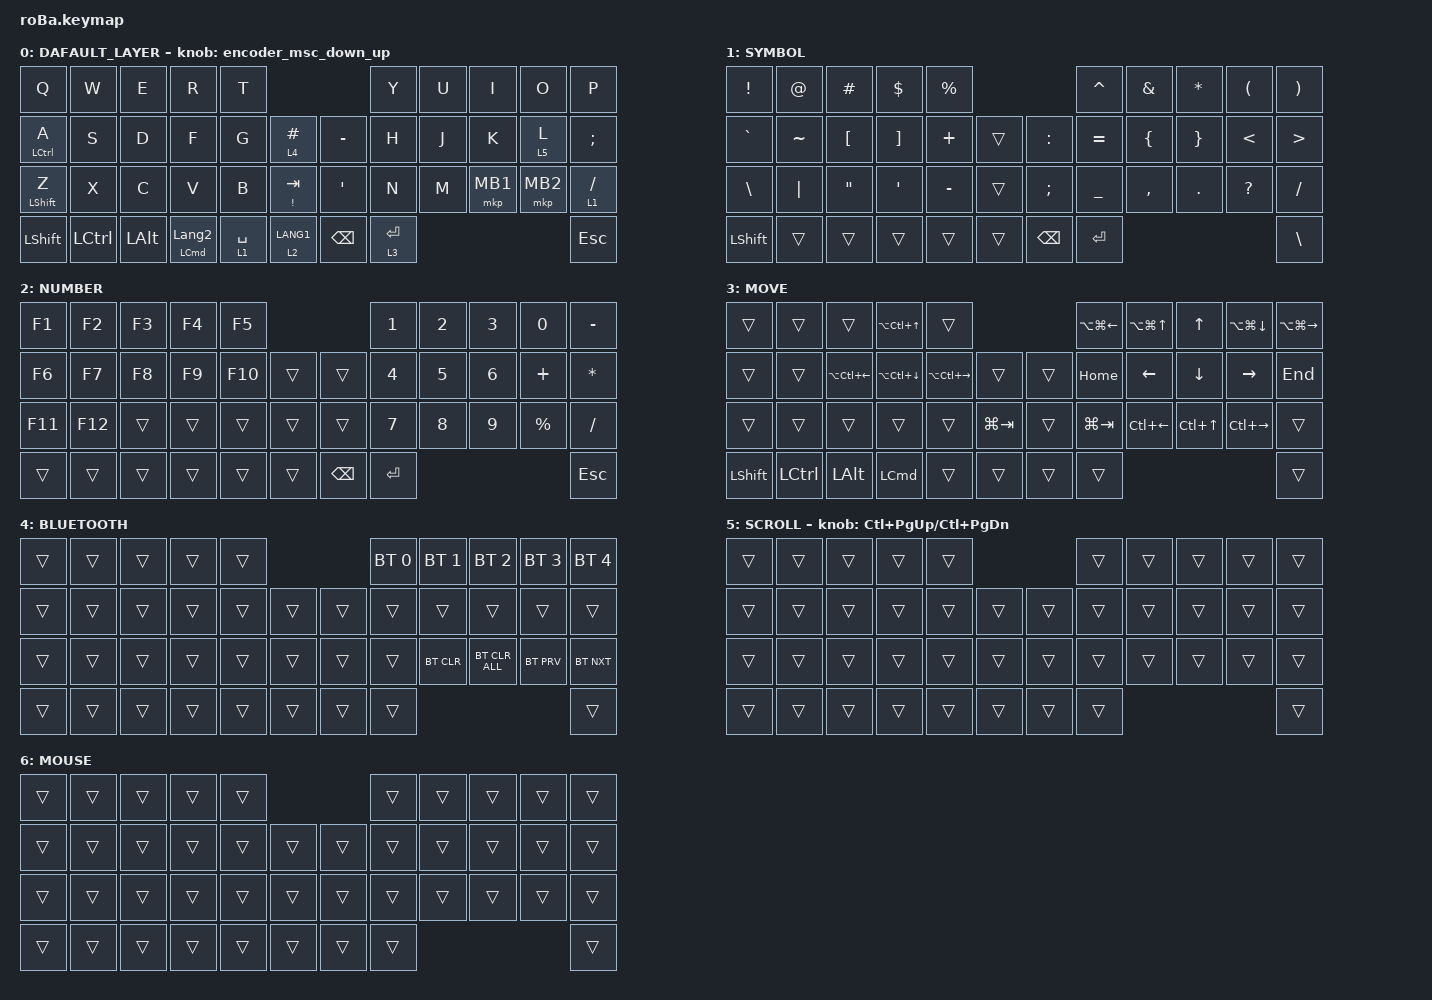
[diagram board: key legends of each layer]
#include <behaviors.dtsi>
#include <dt-bindings/zmk/bt.h>
#include <dt-bindings/zmk/keys.h>
#include <dt-bindings/zmk/pointing.h>

#define ZMK_POINTING_DEFAULT_SCRL_VAL 80

&mt {
    flavor = "balanced";
    quick-tap-ms = <0>;
};

&trackball {
    // automouse-layer = <4>;

    scroll-layers = <5>;

    // arrows {
    //     layers = <3>;
    //     bindings =
    //         <&kp RIGHT_ARROW>,
    //         <&kp LEFT_ARROW>,
    //         <&kp UP_ARROW>,
    //         <&kp DOWN_ARROW>;
    //     tick = <10>;
    //     wait-ms = <5>;
    //     tap-ms = <5>;
    // };
};

/ {
    combos {
        compatible = "zmk,combos";

        tab {
            bindings = <&kp TAB>;
            key-positions = <11 12>;
        };

        shift_tab {
            bindings = <&kp LG(TAB)>;
            key-positions = <26 25>;
        };

        equal {
            bindings = <&kp EQUAL>;
            key-positions = <25 13>;
        };

        pipe {
            bindings = <&kp PIPE>;
            key-positions = <7 19>;
        };

        back_slash {
            bindings = <&kp BACKSLASH>;
            key-positions = <19 31>;
        };

        tilda {
            bindings = <&kp TILDE>;
            key-positions = <4 14>;
        };

        grabe_accent {
            bindings = <&kp GRAVE>;
            key-positions = <14 26>;
        };

        less_than {
            bindings = <&kp LESS_THAN>;
            key-positions = <2 12>;
        };

        greater_than {
            bindings = <&kp GREATER_THAN>;
            key-positions = <12 24>;
        };

        exclamation {
            bindings = <&kp EXCLAMATION>;
            key-positions = <1 11>;
        };

        quetion {
            bindings = <&kp QUESTION>;
            key-positions = <11 23>;
        };

        percent {
            bindings = <&kp PERCENT>;
            key-positions = <1 3>;
        };

        dollar {
            bindings = <&kp DOLLAR>;
            key-positions = <11 13>;
        };

        hash {
            bindings = <&kp HASH>;
            key-positions = <23 25>;
        };

        left_parenthesis {
            bindings = <&kp LEFT_PARENTHESIS>;
            key-positions = <12 13>;
        };

        right_parenthesis {
            bindings = <&kp RIGHT_PARENTHESIS>;
            key-positions = <18 19>;
        };

        left_bracket {
            bindings = <&kp LEFT_BRACKET>;
            key-positions = <2 3>;
        };

        right_bracket {
            bindings = <&kp RIGHT_BRACKET>;
            key-positions = <7 6>;
        };

        left_brace {
            bindings = <&kp LEFT_BRACE>;
            key-positions = <24 25>;
        };

        right_brace {
            bindings = <&kp RIGHT_BRACE>;
            key-positions = <30 31>;
        };

        caret {
            bindings = <&kp CARET>;
            key-positions = <27 26>;
        };

        and {
            bindings = <&kp AMPERSAND>;
            key-positions = <0 10>;
        };

        asterisk {
            bindings = <&kp ASTERISK>;
            key-positions = <10 22>;
        };

        plus {
            bindings = <&kp PLUS>;
            key-positions = <16 17>;
        };

        page_back {
            bindings = <&kp LG(LEFT_BRACKET)>;
            key-positions = <19 20>;
        };

        page_next {
            bindings = <&kp LG(RIGHT_BRACKET)>;
            key-positions = <21 20>;
        };
    };

    macros {
        to_layer_0: to_layer_0 {
            compatible = "zmk,behavior-macro-one-param";
            #binding-cells = <1>;
            bindings = <&to 0 &macro_param_1to1 &kp MACRO_PLACEHOLDER>;
            label = "TO_LAYER_0";
        };
    };

    behaviors {
        lt_to_layer_0: lt_to_layer_0 {
            compatible = "zmk,behavior-hold-tap";
            label = "LAYER_TAP_TO_0";
            bindings = <&mo>, <&to_layer_0>;

            #binding-cells = <2>;
            tapping-term-ms = <200>;
        };

        encoder_msc_down_up: encoder_msc_down_up {
            compatible = "zmk,behavior-sensor-rotate";
            #sensor-binding-cells = <0>;
            bindings = <&msc SCRL_DOWN>, <&msc SCRL_UP>;

            tap-ms = <20>;
        };
    };

    keymap {
        compatible = "zmk,keymap";

        DAFAULT_LAYER {
            bindings = <
&kp Q             &kp W             &kp E         &kp R                        &kp T                                                   &kp Y        &kp U  &kp I     &kp O     &kp P
&mt LCTRL A       &kp S             &kp D         &kp F                        &kp G        &lt_to_layer_0 4 HASH       &kp MINUS      &kp H        &kp J  &kp K     &lt 5 L   &kp SEMICOLON
&mt LEFT_SHIFT Z  &kp X             &kp C         &kp V                        &kp B        &mt EXCLAMATION TAB         &kp APOS       &kp N        &kp M  &mkp MB1  &mkp MB2  &lt 1 SLASH
&kp LEFT_SHIFT    &kp LEFT_CONTROL  &kp LEFT_ALT  &mt LEFT_COMMAND LANGUAGE_2  &lt 1 SPACE  &lt_to_layer_0 2 LANG1      &kp BACKSPACE  &lt 3 ENTER                             &kp ESCAPE
            >;

            sensor-bindings = <&encoder_msc_down_up>;
        };

        SYMBOL {
            bindings = <
&kp EXCLAMATION  &kp AT_SIGN  &kp HASH           &kp DOLLAR         &kp PERCENT                             &kp CARET       &kp AMPERSAND   &kp ASTERISK     &kp LEFT_PARENTHESIS  &kp RIGHT_PARENTHESIS
&kp GRAVE        &kp TILDE    &kp LEFT_BRACKET   &kp RIGHT_BRACKET  &kp PLUS     &trans      &kp COLON      &kp EQUAL       &kp LEFT_BRACE  &kp RIGHT_BRACE  &kp LESS_THAN         &kp GREATER_THAN
&kp BACKSLASH    &kp PIPE     &kp DOUBLE_QUOTES  &kp SINGLE_QUOTE   &kp MINUS    &trans      &kp SEMICOLON  &kp UNDERSCORE  &kp COMMA       &kp PERIOD       &kp QUESTION          &kp SLASH
&kp LSHFT        &trans       &trans             &trans             &trans       &trans      &kp BACKSPACE  &kp ENTER                                                              &kp BACKSLASH
            >;
        };

        NUMBER {
            bindings = <
&kp F1   &kp F2   &kp F3  &kp F4  &kp F5                              &kp NUMBER_1  &kp NUMBER_2  &kp NUMBER_3  &kp NUMBER_0  &kp MINUS
&kp F6   &kp F7   &kp F8  &kp F9  &kp F10  &trans      &trans         &kp NUMBER_4  &kp NUMBER_5  &kp NUMBER_6  &kp PLUS      &kp ASTERISK
&kp F11  &kp F12  &trans  &trans  &trans   &trans      &trans         &kp NUMBER_7  &kp NUMBER_8  &kp NUMBER_9  &kp PERCENT   &kp SLASH
&trans   &trans   &trans  &trans  &trans   &trans      &kp BACKSPACE  &kp ENTER                                               &kp ESCAPE
            >;
        };

        MOVE {
            bindings = <
&trans          &trans     &trans            &kp LA(LC(UP_ARROW))  &trans                                      &kp LA(LG(LEFT))  &kp LA(LG(UP_ARROW))  &kp UP      &kp LA(LG(DOWN))  &kp LA(LG(RIGHT))
&trans          &trans     &kp LA(LC(LEFT))  &kp LA(LC(DOWN))      &kp LA(LC(RIGHT))  &trans           &trans  &kp HOME          &kp LEFT              &kp DOWN    &kp RIGHT         &kp END
&trans          &trans     &trans            &trans                &trans             &kp LG(TAB)      &trans  &kp LG(TAB)       &kp LC(LEFT)          &kp LC(UP)  &kp LC(RIGHT)     &trans
&kp LEFT_SHIFT  &kp LCTRL  &kp LEFT_ALT      &kp LEFT_COMMAND      &trans             &trans           &trans  &trans                                                                &trans
            >;
        };

        BLUETOOTH {
            bindings = <
&trans  &trans  &trans  &trans  &trans                      &bt BT_SEL 0  &bt BT_SEL 1  &bt BT_SEL 2    &bt BT_SEL 3  &bt BT_SEL 4
&trans  &trans  &trans  &trans  &trans  &trans      &trans  &trans        &trans        &trans          &trans        &trans
&trans  &trans  &trans  &trans  &trans  &trans      &trans  &trans        &bt BT_CLR    &bt BT_CLR_ALL  &bt BT_PRV    &bt BT_NXT
&trans  &trans  &trans  &trans  &trans  &trans      &trans  &trans                                                    &trans
            >;
        };

        SCROLL {
            bindings = <
&trans  &trans  &trans  &trans  &trans                      &trans  &trans  &trans  &trans  &trans
&trans  &trans  &trans  &trans  &trans  &trans      &trans  &trans  &trans  &trans  &trans  &trans
&trans  &trans  &trans  &trans  &trans  &trans      &trans  &trans  &trans  &trans  &trans  &trans
&trans  &trans  &trans  &trans  &trans  &trans      &trans  &trans                          &trans
            >;

            sensor-bindings = <&inc_dec_kp LC(PAGE_UP) LC(PAGE_DOWN)>;
        };

        MOUSE {
            bindings = <
&trans  &trans  &trans  &trans  &trans                      &trans  &trans  &trans  &trans  &trans
&trans  &trans  &trans  &trans  &trans  &trans      &trans  &trans  &trans  &trans  &trans  &trans
&trans  &trans  &trans  &trans  &trans  &trans      &trans  &trans  &trans  &trans  &trans  &trans
&trans  &trans  &trans  &trans  &trans  &trans      &trans  &trans                          &trans
            >;
        };
    };
};
